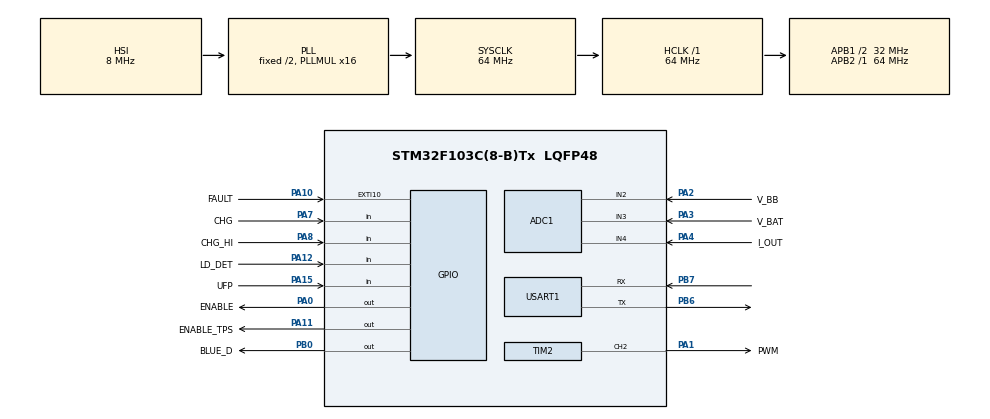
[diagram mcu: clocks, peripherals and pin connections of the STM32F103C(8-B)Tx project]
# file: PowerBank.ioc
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ADC1.Channel-10\#ChannelRegularConversion=ADC_CHANNEL_4
ADC1.Channel-8\#ChannelRegularConversion=ADC_CHANNEL_2
ADC1.Channel-9\#ChannelRegularConversion=ADC_CHANNEL_3
ADC1.ContinuousConvMode=ENABLE
ADC1.EnableRegularConversion=ENABLE
ADC1.NbrOfConversion=3
ADC1.NbrOfConversionFlag=1
ADC1.Rank-10\#ChannelRegularConversion=3
ADC1.Rank-8\#ChannelRegularConversion=1
ADC1.Rank-9\#ChannelRegularConversion=2
ADC1.SamplingTime-10\#ChannelRegularConversion=ADC_SAMPLETIME_239CYCLES_5
ADC1.SamplingTime-8\#ChannelRegularConversion=ADC_SAMPLETIME_55CYCLES_5
ADC1.SamplingTime-9\#ChannelRegularConversion=ADC_SAMPLETIME_55CYCLES_5
ADC1.master=1
Dma.ADC1.0.Direction=DMA_PERIPH_TO_MEMORY
Dma.ADC1.0.Instance=DMA1_Channel1
Dma.ADC1.0.MemDataAlignment=DMA_MDATAALIGN_WORD
Dma.ADC1.0.MemInc=DMA_MINC_ENABLE
Dma.ADC1.0.Mode=DMA_CIRCULAR
Dma.ADC1.0.PeriphDataAlignment=DMA_PDATAALIGN_HALFWORD
Dma.ADC1.0.PeriphInc=DMA_PINC_DISABLE
Dma.ADC1.0.Priority=DMA_PRIORITY_LOW
Dma.Request0=ADC1
Mcu.Family=STM32F1
Mcu.Name=STM32F103C(8-B)Tx
Mcu.Package=LQFP48
NVIC.DMA1_Channel1_IRQn=true\:5\:0\:true\:false\:true\:false\:true\:true
NVIC.EXTI15_10_IRQn=true\:2\:0\:true\:false\:true\:true\:true\:true
NVIC.PriorityGroup=NVIC_PRIORITYGROUP_4
PA0-WKUP.GPIO_Label=ENABLE
PA0-WKUP.Signal=GPIO_Output
PA1.GPIO_Label=PWM
PA1.Signal=S_TIM2_CH2
PA10.GPIO_Label=FAULT
PA10.GPIO_ModeDefaultEXTI=GPIO_MODE_IT_FALLING
PA10.GPIO_PuPd=GPIO_PULLUP
PA10.Signal=GPXTI10
PA11.GPIO_Label=ENABLE_TPS
PA11.Signal=GPIO_Output
PA12.GPIO_Label=LD_DET
PA12.GPIO_PuPd=GPIO_PULLDOWN
PA12.Signal=GPIO_Input
PA13.Mode=Serial_Wire
PA13.Signal=SYS_JTMS-SWDIO
PA14.Mode=Serial_Wire
PA14.Signal=SYS_JTCK-SWCLK
PA15.GPIO_Label=UFP
PA15.GPIO_PuPd=GPIO_PULLDOWN
PA15.Signal=GPIO_Input
PA2.GPIO_Label=V_BB
PA2.GPIO_Mode=GPIO_MODE_ANALOG
PA2.Signal=ADCx_IN2
PA3.GPIO_Label=V_BAT
PA3.GPIO_Mode=GPIO_MODE_ANALOG
PA3.Signal=ADCx_IN3
PA4.GPIO_Label=I_OUT
PA4.GPIO_Mode=GPIO_MODE_ANALOG
PA4.Signal=ADCx_IN4
PA7.GPIO_Label=CHG
PA7.GPIO_PuPd=GPIO_PULLDOWN
PA7.Signal=GPIO_Input
PA8.GPIO_Label=CHG_HI
PA8.GPIO_PuPd=GPIO_PULLDOWN
PA8.Signal=GPIO_Input
PB0.GPIO_Label=BLUE_D
PB0.Signal=GPIO_Output
PB6.Mode=Asynchronous
PB6.Signal=USART1_TX
PB7.Mode=Asynchronous
PB7.Signal=USART1_RX
ProjectManager.HeapSize=0x200
ProjectManager.StackSize=0x400
ProjectManager.TargetToolchain=STM32CubeIDE
RCC.ADCPresc=RCC_ADCPCLK2_DIV6
RCC.AHBFreq_Value=64000000
RCC.APB1CLKDivider=RCC_HCLK_DIV2
RCC.APB1Freq_Value=32000000
RCC.APB1TimFreq_Value=64000000
RCC.APB2Freq_Value=64000000
RCC.APB2TimFreq_Value=64000000
RCC.HCLKFreq_Value=64000000
RCC.HSEDivPLL=RCC_HSE_PREDIV_DIV2
RCC.HSE_VALUE=16000000
RCC.PLLMUL=RCC_PLL_MUL16
RCC.SYSCLKFreq_VALUE=64000000
RCC.SYSCLKSource=RCC_SYSCLKSOURCE_PLLCLK
RCC.USBFreq_Value=64000000
SH.ADCx_IN2.0=ADC2_IN2
SH.ADCx_IN2.1=ADC1_IN2,IN2
SH.ADCx_IN3.0=ADC2_IN3
SH.ADCx_IN3.1=ADC1_IN3,IN3
SH.ADCx_IN4.0=ADC2_IN4
SH.ADCx_IN4.1=ADC1_IN4,IN4
SH.S_TIM2_CH2.0=TIM2_CH2,PWM Generation2 CH2
TIM2.Channel-PWM\ Generation2\ CH2=TIM_CHANNEL_2
TIM2.OCFastMode_PWM-PWM\ Generation2\ CH2=TIM_OCFAST_ENABLE
TIM2.Period=639
TIM2.Pulse-PWM\ Generation2\ CH2=0
USART1.VirtualMode=VM_ASYNC
VP_TIM2_VS_ClockSourceINT.Mode=Internal
board=custom

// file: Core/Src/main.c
/* USER CODE BEGIN Header */
/**
  ******************************************************************************
  * @file           : main.c
  * @brief          : Main program body
  ******************************************************************************
  * @attention
  *
  * Copyright (c) 2026 STMicroelectronics.
  * All rights reserved.
  *
  * This software is licensed under terms that can be found in the LICENSE file
  * in the root directory of this software component.
  * If no LICENSE file comes with this software, it is provided AS-IS.
  *
  ******************************************************************************
  */
/* USER CODE END Header */
#include "main.h"

/* USER CODE BEGIN Includes */
#include <stdio.h>
#include <stdlib.h>
#include <string.h>
/* USER CODE END Includes */

/* USER CODE BEGIN PD */
// Limity baterii Li-Ion 2s (Nominal 7.4V)
#define MAX_V_IN		30.0f	// [V] Max napięcie wejściowe
#define MAX_V_OUT       8.40f   // [V] Max napięcie (CV cut-off)
#define MAX_I_OUT       1.80f   // [A] Max prąd ładowania (CC limit)
#define MIN_V_IN_OFFSET 1.50f   // [V] O ile Vin musi być wyższe od Vout, aby startować
#define MIN_V_BAT_SAFE  5.50f   // [V] Poniżej tego napięcia bateria może być uszkodzona

// Kalibracja ADC
#define ADC_SCALE_VIN   0.008f  // Przelicznik RAW ADC -> Volty dla wejścia
#define ADC_SCALE_VOUT  0.003f  // Przelicznik RAW ADC -> Volty dla wyjścia
#define ADC_SCALE_IOUT  0.0008f  // Przelicznik RAW ADC -> Ampery

// Ustawienia PWM
#define PWM_PERIOD      639    // ARR timera
#define MAX_DUTY        607     // 95% max wypełnienie (dla bootstrapu drivera)
#define MIN_DUTY        0       // 0%

// Ustawienia bufora DMA
#define ADC_CHANNELS    3   // Vin, Vout, Iout
#define DMA_SAMPLES     10  // Ilość próbek na kanał

// Współczynnik filtra dolnoprzepustowego (0.0 do 1.0).
#define FILTER_ALPHA_V  0.3f  // Dla napięć (zazwyczaj stabilniejsze)
#define FILTER_ALPHA_I  0.3f  // Dla prądu (wymaga mocniejszego tłumienia)
/* USER CODE END PD */

ADC_HandleTypeDef hadc1;
DMA_HandleTypeDef hdma_adc1;

TIM_HandleTypeDef htim2;

UART_HandleTypeDef huart1;

/* USER CODE BEGIN PV */
typedef struct {
	// --- Dane PRECYZYJNE (po filtrze EMA) ---
	// Używane do algorytmu MPPT i utrzymywania napięcia (CC-CV)
	float v_in;
	float v_out;
	float i_out;
	float power_out;
	float power_prev;

	// --- Dane NATYCHMIASTOWE (tylko średnia z DMA, bez EMA) ---
	// Używane do szybkiego wykrywania zwarć i przepięć
	float v_in_inst;
	float v_out_inst;
	float i_out_inst;
} SystemState;

SystemState sys;

uint16_t duty_cycle = 0; // Aktualne wypełnienie (0 - PWM_PERIOD)
int8_t mppt_direction = 1; // 1 = zwiększamy duty, -1 = zmniejszamy

// Flagi stanu
typedef enum {
    STATE_IDLE,
    STATE_SOFT_START,
    STATE_CHARGING,
    STATE_ERROR
} ChargerState;

ChargerState current_state = STATE_IDLE;

// Bufor DMA: [Vin1, Vout1, Iout1, Vin2, Vout2, Iout2, ... Vin20, Vout20, Iout20]
volatile uint32_t adc_dma_buffer[ADC_CHANNELS * DMA_SAMPLES];

/* USER CODE END PV */

void SystemClock_Config(void);
static void MX_GPIO_Init(void);
static void MX_DMA_Init(void);
static void MX_USART1_UART_Init(void);
static void MX_ADC1_Init(void);
static void MX_TIM2_Init(void);
/* USER CODE BEGIN PFP */
int __io_putchar(int ch);
void HAL_GPIO_EXTI_CALLBACK(uint16_t GPIO_Pin);
void Calc_ADC(void);
void Control_Loop(void);
void Set_PWM_Duty(uint16_t duty);
void Buck_Enable(uint8_t enable);
float Filter_EMA(float current_val, float prev_val, float alpha);
void Log_Status(void);
/* USER CODE END PFP */

int main(void)
{

  /* MCU Configuration--------------------------------------------------------*/

  /* Reset of all peripherals, Initializes the Flash interface and the Systick. */
  HAL_Init();

  /* Configure the system clock */
  SystemClock_Config();

  /* Initialize all configured peripherals */
  MX_GPIO_Init();
  MX_DMA_Init();
  MX_USART1_UART_Init();
  MX_ADC1_Init();
  MX_TIM2_Init();

  /* Infinite loop */
  /* USER CODE BEGIN WHILE */
  uint32_t control_timer = 0;
  uint32_t log_timer = 0;

  HAL_ADCEx_Calibration_Start(&hadc1);
  HAL_ADC_Start_DMA(&hadc1, (uint32_t*)adc_dma_buffer, ADC_CHANNELS * DMA_SAMPLES); //Inicjalizacja DMA do pomiarów ADC na V_BB, V_BAT, I_OUT
  HAL_TIM_PWM_Start(&htim2,TIM_CHANNEL_2);
  Buck_Enable(0); //Domyślnie ENABLE dla BUCK na 0
  HAL_GPIO_WritePin(ENABLE_TPS_GPIO_Port,ENABLE_TPS_Pin, GPIO_PIN_RESET); //Domyślnie ENABLE_TPS dla USB na 0

  while (1)
  {
	  // Pętla 100Hz - Zarządzanie logiką
	  if (HAL_GetTick() - control_timer >= 10)
	  {
		  control_timer = HAL_GetTick();

		  Calc_ADC();
		  Control_Loop();
	  }

	  // Pętla 1Hz - Dane pomiarowe(logs)
	  if(HAL_GetTick() - log_timer >= 1000){
		  log_timer = HAL_GetTick();

		  Log_Status();
		  // Migająca dioda
		  HAL_GPIO_TogglePin(BLUE_D_GPIO_Port, BLUE_D_Pin);
	  }

    /* USER CODE END WHILE */

  }
}

void SystemClock_Config(void)
{
  RCC_OscInitTypeDef RCC_OscInitStruct = {0};
  RCC_ClkInitTypeDef RCC_ClkInitStruct = {0};
  RCC_PeriphCLKInitTypeDef PeriphClkInit = {0};

  /** Initializes the RCC Oscillators according to the specified parameters
  * in the RCC_OscInitTypeDef structure.
  */
  RCC_OscInitStruct.OscillatorType = RCC_OSCILLATORTYPE_HSI;
  RCC_OscInitStruct.HSIState = RCC_HSI_ON;
  RCC_OscInitStruct.HSICalibrationValue = RCC_HSICALIBRATION_DEFAULT;
  RCC_OscInitStruct.PLL.PLLState = RCC_PLL_ON;
  RCC_OscInitStruct.PLL.PLLSource = RCC_PLLSOURCE_HSI_DIV2;
  RCC_OscInitStruct.PLL.PLLMUL = RCC_PLL_MUL16;
  if (HAL_RCC_OscConfig(&RCC_OscInitStruct) != HAL_OK)
  {
    Error_Handler();
  }

  /** Initializes the CPU, AHB and APB buses clocks
  */
  RCC_ClkInitStruct.ClockType = RCC_CLOCKTYPE_HCLK|RCC_CLOCKTYPE_SYSCLK
                              |RCC_CLOCKTYPE_PCLK1|RCC_CLOCKTYPE_PCLK2;
  RCC_ClkInitStruct.SYSCLKSource = RCC_SYSCLKSOURCE_PLLCLK;
  RCC_ClkInitStruct.AHBCLKDivider = RCC_SYSCLK_DIV1;
  RCC_ClkInitStruct.APB1CLKDivider = RCC_HCLK_DIV2;
  RCC_ClkInitStruct.APB2CLKDivider = RCC_HCLK_DIV1;

  if (HAL_RCC_ClockConfig(&RCC_ClkInitStruct, FLASH_LATENCY_2) != HAL_OK)
  {
    Error_Handler();
  }
  PeriphClkInit.PeriphClockSelection = RCC_PERIPHCLK_ADC;
  PeriphClkInit.AdcClockSelection = RCC_ADCPCLK2_DIV6;
  if (HAL_RCCEx_PeriphCLKConfig(&PeriphClkInit) != HAL_OK)
  {
    Error_Handler();
  }
}

static void MX_ADC1_Init(void)
{

  ADC_ChannelConfTypeDef sConfig = {0};

  /** Common config
  */
  hadc1.Instance = ADC1;
  hadc1.Init.ScanConvMode = ADC_SCAN_ENABLE;
  hadc1.Init.ContinuousConvMode = ENABLE;
  hadc1.Init.DiscontinuousConvMode = DISABLE;
  hadc1.Init.ExternalTrigConv = ADC_SOFTWARE_START;
  hadc1.Init.DataAlign = ADC_DATAALIGN_RIGHT;
  hadc1.Init.NbrOfConversion = 3;
  if (HAL_ADC_Init(&hadc1) != HAL_OK)
  {
    Error_Handler();
  }

  /** Configure Regular Channel
  */
  sConfig.Channel = ADC_CHANNEL_2;
  sConfig.Rank = ADC_REGULAR_RANK_1;
  sConfig.SamplingTime = ADC_SAMPLETIME_55CYCLES_5;
  if (HAL_ADC_ConfigChannel(&hadc1, &sConfig) != HAL_OK)
  {
    Error_Handler();
  }

  /** Configure Regular Channel
  */
  sConfig.Channel = ADC_CHANNEL_3;
  sConfig.Rank = ADC_REGULAR_RANK_2;
  if (HAL_ADC_ConfigChannel(&hadc1, &sConfig) != HAL_OK)
  {
    Error_Handler();
  }

  /** Configure Regular Channel
  */
  sConfig.Channel = ADC_CHANNEL_4;
  sConfig.Rank = ADC_REGULAR_RANK_3;
  sConfig.SamplingTime = ADC_SAMPLETIME_239CYCLES_5;
  if (HAL_ADC_ConfigChannel(&hadc1, &sConfig) != HAL_OK)
  {
    Error_Handler();
  }

}

static void MX_TIM2_Init(void)
{

  TIM_ClockConfigTypeDef sClockSourceConfig = {0};
  TIM_MasterConfigTypeDef sMasterConfig = {0};
  TIM_OC_InitTypeDef sConfigOC = {0};

  htim2.Instance = TIM2;
  htim2.Init.Prescaler = 0;
  htim2.Init.CounterMode = TIM_COUNTERMODE_UP;
  htim2.Init.Period = 639;
  htim2.Init.ClockDivision = TIM_CLOCKDIVISION_DIV1;
  htim2.Init.AutoReloadPreload = TIM_AUTORELOAD_PRELOAD_DISABLE;
  if (HAL_TIM_Base_Init(&htim2) != HAL_OK)
  {
    Error_Handler();
  }
  sClockSourceConfig.ClockSource = TIM_CLOCKSOURCE_INTERNAL;
  if (HAL_TIM_ConfigClockSource(&htim2, &sClockSourceConfig) != HAL_OK)
  {
    Error_Handler();
  }
  if (HAL_TIM_PWM_Init(&htim2) != HAL_OK)
  {
    Error_Handler();
  }
  sMasterConfig.MasterOutputTrigger = TIM_TRGO_RESET;
  sMasterConfig.MasterSlaveMode = TIM_MASTERSLAVEMODE_DISABLE;
  if (HAL_TIMEx_MasterConfigSynchronization(&htim2, &sMasterConfig) != HAL_OK)
  {
    Error_Handler();
  }
  sConfigOC.OCMode = TIM_OCMODE_PWM1;
  sConfigOC.Pulse = 0;
  sConfigOC.OCPolarity = TIM_OCPOLARITY_HIGH;
  sConfigOC.OCFastMode = TIM_OCFAST_ENABLE;
  if (HAL_TIM_PWM_ConfigChannel(&htim2, &sConfigOC, TIM_CHANNEL_2) != HAL_OK)
  {
    Error_Handler();
  }
  HAL_TIM_MspPostInit(&htim2);

}

static void MX_USART1_UART_Init(void)
{

  huart1.Instance = USART1;
  huart1.Init.BaudRate = 115200;
  huart1.Init.WordLength = UART_WORDLENGTH_8B;
  huart1.Init.StopBits = UART_STOPBITS_1;
  huart1.Init.Parity = UART_PARITY_NONE;
  huart1.Init.Mode = UART_MODE_TX_RX;
  huart1.Init.HwFlowCtl = UART_HWCONTROL_NONE;
  huart1.Init.OverSampling = UART_OVERSAMPLING_16;
  if (HAL_UART_Init(&huart1) != HAL_OK)
  {
    Error_Handler();
  }

}

static void MX_DMA_Init(void)
{

  /* DMA controller clock enable */
  __HAL_RCC_DMA1_CLK_ENABLE();

  /* DMA interrupt init */
  /* DMA1_Channel1_IRQn interrupt configuration */
  HAL_NVIC_SetPriority(DMA1_Channel1_IRQn, 5, 0);
  HAL_NVIC_EnableIRQ(DMA1_Channel1_IRQn);

}

static void MX_GPIO_Init(void)
{
  GPIO_InitTypeDef GPIO_InitStruct = {0};

  /* GPIO Ports Clock Enable */
  __HAL_RCC_GPIOA_CLK_ENABLE();
  __HAL_RCC_GPIOB_CLK_ENABLE();

  /*Configure GPIO pin Output Level */
  HAL_GPIO_WritePin(GPIOA, ENABLE_Pin|ENABLE_TPS_Pin, GPIO_PIN_RESET);

  /*Configure GPIO pin Output Level */
  HAL_GPIO_WritePin(BLUE_D_GPIO_Port, BLUE_D_Pin, GPIO_PIN_RESET);

  /*Configure GPIO pins : ENABLE_Pin ENABLE_TPS_Pin */
  GPIO_InitStruct.Pin = ENABLE_Pin|ENABLE_TPS_Pin;
  GPIO_InitStruct.Mode = GPIO_MODE_OUTPUT_PP;
  GPIO_InitStruct.Pull = GPIO_NOPULL;
  GPIO_InitStruct.Speed = GPIO_SPEED_FREQ_LOW;
  HAL_GPIO_Init(GPIOA, &GPIO_InitStruct);

  /*Configure GPIO pins : V_BB_Pin V_BAT_Pin I_OUT_Pin */
  GPIO_InitStruct.Pin = V_BB_Pin|V_BAT_Pin|I_OUT_Pin;
  GPIO_InitStruct.Mode = GPIO_MODE_ANALOG;
  HAL_GPIO_Init(GPIOA, &GPIO_InitStruct);

  /*Configure GPIO pins : CHG_Pin CHG_HI_Pin LD_DET_Pin UFP_Pin */
  GPIO_InitStruct.Pin = CHG_Pin|CHG_HI_Pin|LD_DET_Pin|UFP_Pin;
  GPIO_InitStruct.Mode = GPIO_MODE_INPUT;
  GPIO_InitStruct.Pull = GPIO_PULLDOWN;
  HAL_GPIO_Init(GPIOA, &GPIO_InitStruct);

  /*Configure GPIO pin : BLUE_D_Pin */
  GPIO_InitStruct.Pin = BLUE_D_Pin;
  GPIO_InitStruct.Mode = GPIO_MODE_OUTPUT_PP;
  GPIO_InitStruct.Pull = GPIO_NOPULL;
  GPIO_InitStruct.Speed = GPIO_SPEED_FREQ_LOW;
  HAL_GPIO_Init(BLUE_D_GPIO_Port, &GPIO_InitStruct);

  /*Configure GPIO pin : FAULT_Pin */
  GPIO_InitStruct.Pin = FAULT_Pin;
  GPIO_InitStruct.Mode = GPIO_MODE_IT_FALLING;
  GPIO_InitStruct.Pull = GPIO_PULLUP;
  HAL_GPIO_Init(FAULT_GPIO_Port, &GPIO_InitStruct);

  /* EXTI interrupt init*/
  HAL_NVIC_SetPriority(EXTI15_10_IRQn, 2, 0);
  HAL_NVIC_EnableIRQ(EXTI15_10_IRQn);

}

/* USER CODE BEGIN 4 */

// Przekierowanie wyjścia print na UART //
int __io_putchar(int ch) // print -> UART
{
    if (ch == '\n') {
        uint8_t ch2 = '\r';
        HAL_UART_Transmit(&huart1, &ch2, 1, HAL_MAX_DELAY);
    }
    HAL_UART_Transmit(&huart1, (uint8_t*)&ch, 1, HAL_MAX_DELAY);
    return 1;
}

// Obsługa przerwań //
void HAL_GPIO_EXTI_CALLBACK(uint16_t GPIO_Pin){ // obsługa przerwań (USB - FAULT)
	if (GPIO_Pin == FAULT_Pin){
		HAL_GPIO_WritePin(FAULT_GPIO_Port, FAULT_Pin, GPIO_PIN_RESET);
		printf("FAULT!!!\n");
	}
}

// Logika kontroli ładowania Li-ion w układzie synchornicznego buck-convertera //
void Calc_ADC(void){
	//Przeliczanie jednostek na wartości mierzone
	uint32_t sum_vin = 0;
	uint32_t sum_vout = 0;
	uint32_t sum_iout = 0;

	// KROK 1: Sumowanie danych z bufora DMA
	// Bufor jest przeplatany: [CH0, CH1, CH2, CH0, CH1, CH2...]
	for (int i = 0; i < DMA_SAMPLES; i++) {
		sum_vin  += adc_dma_buffer[(i * ADC_CHANNELS) + 0]; // Rank 1: Vin
		sum_vout += adc_dma_buffer[(i * ADC_CHANNELS) + 1]; // Rank 2: Vout
		sum_iout += adc_dma_buffer[(i * ADC_CHANNELS) + 2]; // Rank 3: Iout
	}

	// Oblicz średnią surową (Raw)
	float raw_vin_avg  = (float)sum_vin / DMA_SAMPLES;
	float raw_vout_avg = (float)sum_vout / DMA_SAMPLES;
	float raw_iout_avg = (float)sum_iout / DMA_SAMPLES;

	// Konwersja na jednostki fizyczne
	float inst_vin  = raw_vin_avg * ADC_SCALE_VIN;
	float inst_vout = raw_vout_avg * ADC_SCALE_VOUT;
	float inst_iout = raw_iout_avg * ADC_SCALE_IOUT;

	sys.v_in_inst  = inst_vin;
	sys.v_out_inst = inst_vout;
	sys.i_out_inst = inst_iout;

	// KROK 2: Filtracja EMA (To nadal warto zostawić!)
	// DMA wygładza szum "szybki" (wysokoczęstotliwościowy),
	// EMA wygładza "pływanie" (niskoczęstotliwościowe).

	static uint8_t first_run = 1;
	if (first_run) {
		sys.v_in = inst_vin;
		sys.v_out = inst_vout;
		sys.i_out = inst_iout;
		first_run = 0;
	} else {
		sys.v_in  = Filter_EMA(inst_vin, sys.v_in, FILTER_ALPHA_V);
		sys.v_out = Filter_EMA(inst_vout, sys.v_out, FILTER_ALPHA_V);
		sys.i_out = Filter_EMA(inst_iout, sys.i_out, FILTER_ALPHA_I);
	}

	// Obliczenie mocy
	sys.power_out = sys.v_in * sys.i_out;
}

void Control_Loop(void) {
    // Zabezpieczenia nadrzędne (HARD LIMITS)
	// Over-Voltage Protection (OVP) - margines bezpieczeństwa np. +0.3V
    if (sys.v_out_inst > (MAX_V_OUT + 0.2f)) {
        // Krytyczne przeładowanie - natychmiast STOP
        Buck_Enable(0);
        duty_cycle = 0;
        Set_PWM_Duty(0);
        current_state = STATE_ERROR;
        return;
    }

    // Over-Voltage Protection (OVP) - wejścia > MAX_V_IN
    if (sys.v_in_inst > MAX_V_IN) {
            // Krytyczna wartość napięcia wejściowego - natychmiast STOP
            Buck_Enable(0);
            duty_cycle = 0;
            Set_PWM_Duty(0);
            current_state = STATE_ERROR;
            return;
        }

    // Over-Current Protection (OCP) - margines np. +0.5A ponad limit
        if (sys.i_out_inst > (MAX_I_OUT + 0.3f)) {
            Buck_Enable(0);
            duty_cycle = 0;
            Set_PWM_Duty(0);
            current_state = STATE_ERROR;
            return;
        }

    // Maszyna stanów
    switch (current_state) {
        case STATE_IDLE:
            duty_cycle = 0;
            Buck_Enable(0);

            // Warunek startu: Słońce świeci (Vin > Vbat + margines)
            if (sys.v_in > (sys.v_out + MIN_V_IN_OFFSET) && sys.v_out > MIN_V_BAT_SAFE) {
                current_state = STATE_SOFT_START;
                Buck_Enable(1);
                duty_cycle = (sys.v_out/sys.v_in)*PWM_PERIOD - 30; // Wartość progowa dla, której V_buck = V_bat
            }
            break;

        case STATE_SOFT_START:
            // Powolne narastanie prądu, aby nie uszkodzić wejścia/wyjścia

            duty_cycle += 1; // Powoli zwiększaj
            if (sys.i_out > 0.1f) { // Jeśli prąd popłynął
                current_state = STATE_CHARGING;
            }
            // Zabezpieczenie powrotu
            if (sys.v_in <= sys.v_out + MIN_V_IN_OFFSET) current_state = STATE_IDLE;
            break;

        case STATE_CHARGING:
            /*
             * ALGORYTM HYBRYDOWY MPPT + CC/CV
             * Priorytety:
             * 1. Nie przekraczaj napięcia MAX (CV)
             * 2. Nie przekraczaj prądu MAX (CC)
             * 3. Jeśli powyższe OK -> Szukaj punktu mocy (MPPT P&O)
             */

            // --- REGULATOR OGRANICZEŃ (LIMITER) ---
            int limit_active = 0;

            // Ograniczenie napięciowe (CV - Constant Voltage)
            if (sys.v_out >= MAX_V_OUT) {
                if (duty_cycle > 0) duty_cycle--; // Zmniejsz duty
                limit_active = 1;
            }
            // Histereza CV (delikatne podejście)
            else if (sys.v_out > (MAX_V_OUT - 0.05f)) {
                 // Nie zwiększaj duty w strefie bliskiej max
                 limit_active = 1;
            }

            // Ograniczenie prądowe (CC - Constant Current)
            if (sys.i_out >= MAX_I_OUT) {
                if (duty_cycle > 0) duty_cycle--; // Zmniejsz duty
                limit_active = 1;
            }

            // --- ALGORYTM MPPT (Perturb & Observe) ---
            // Działa tylko wtedy, gdy nie uderzamy w limity baterii
            if (!limit_active) {
                // Czy moc wzrosła?
                if (sys.power_out > sys.power_prev) {
                    // Tak: idziemy dalej w tym samym kierunku
                    duty_cycle += mppt_direction;
                } else {
                    // Nie: moc spadła, zmieniamy kierunek
                    mppt_direction = -mppt_direction;
                    duty_cycle += mppt_direction;
                }

                sys.power_prev = sys.power_out;
            }

            // Sprawdzenie "Under Voltage Lockout" dla panelu
            if (sys.v_in < sys.v_out + MIN_V_IN_OFFSET) {
                current_state = STATE_IDLE;
                break;
            }

            // Sprawdzenie czy nie odłączono akumulatorów
            if (sys.v_out <= MIN_V_BAT_SAFE){
            	current_state = STATE_IDLE;
            	break;
            }

            if(sys.i_out < 0.01f){
            	current_state = STATE_IDLE;
            }
            break;

        case STATE_ERROR:
            // Wymaga resetu lub histerezy powrotu
            if (sys.v_out_inst < MAX_V_OUT - 0.5f && sys.v_in_inst < MAX_V_IN - 1.0f){
                current_state = STATE_IDLE;
            }
            break;

    }

    // Zastosuj Duty Cycle z limitem Hard-Hardware
    if (duty_cycle > MAX_DUTY) duty_cycle = MAX_DUTY;
    if (duty_cycle < MIN_DUTY) duty_cycle = MIN_DUTY;

    Set_PWM_Duty(duty_cycle);
}

// Najważniejsze dane - logs
void Log_Status(void) {
    // Konwersja stanu na napis
    char state_str[10];
    switch (current_state) {
        case STATE_IDLE:       sprintf(state_str, "IDLE"); break;
        case STATE_SOFT_START: sprintf(state_str, "SOFT"); break;
        case STATE_CHARGING:   sprintf(state_str, "CHRG"); break;
        case STATE_ERROR:      sprintf(state_str, "ERR!"); break;
        default:               sprintf(state_str, "????"); break;
    }

    printf("[State: %s] Vin: %5.2fV | Vout: %5.2fV | Iout: %5.2fA | Pwr: %5.2fW | PWM: %3d | I_out_inst: %5.3fA \n",
           state_str,
           sys.v_in,
           sys.v_out,
           sys.i_out,
           sys.power_out*((float)duty_cycle/PWM_PERIOD),
           duty_cycle, sys.i_out_inst);
}

/**
 * @brief  Cyfrowy filtr dolnoprzepustowy (EMA)
 * @param  current_val: nowa zmierzona wartość
 * @param  prev_val: poprzednia przefiltrowana wartość (historia)
 * @param  alpha: współczynnik wygładzania (0.0 - 1.0)
 * @return Nowa przefiltrowana wartość
 */
float Filter_EMA(float current_val, float prev_val, float alpha) {
    return (alpha * current_val) + ((1.0f - alpha) * prev_val);
}

void Set_PWM_Duty(uint16_t duty) {
    __HAL_TIM_SET_COMPARE(&htim2, TIM_CHANNEL_2, duty);
}

void Buck_Enable(uint8_t enable) {
    HAL_GPIO_WritePin(ENABLE_GPIO_Port, ENABLE_Pin, enable ? GPIO_PIN_SET : GPIO_PIN_RESET);
}
/* USER CODE END 4 */

void Error_Handler(void)
{
  __disable_irq();
  while (1)
  {
  }
}
